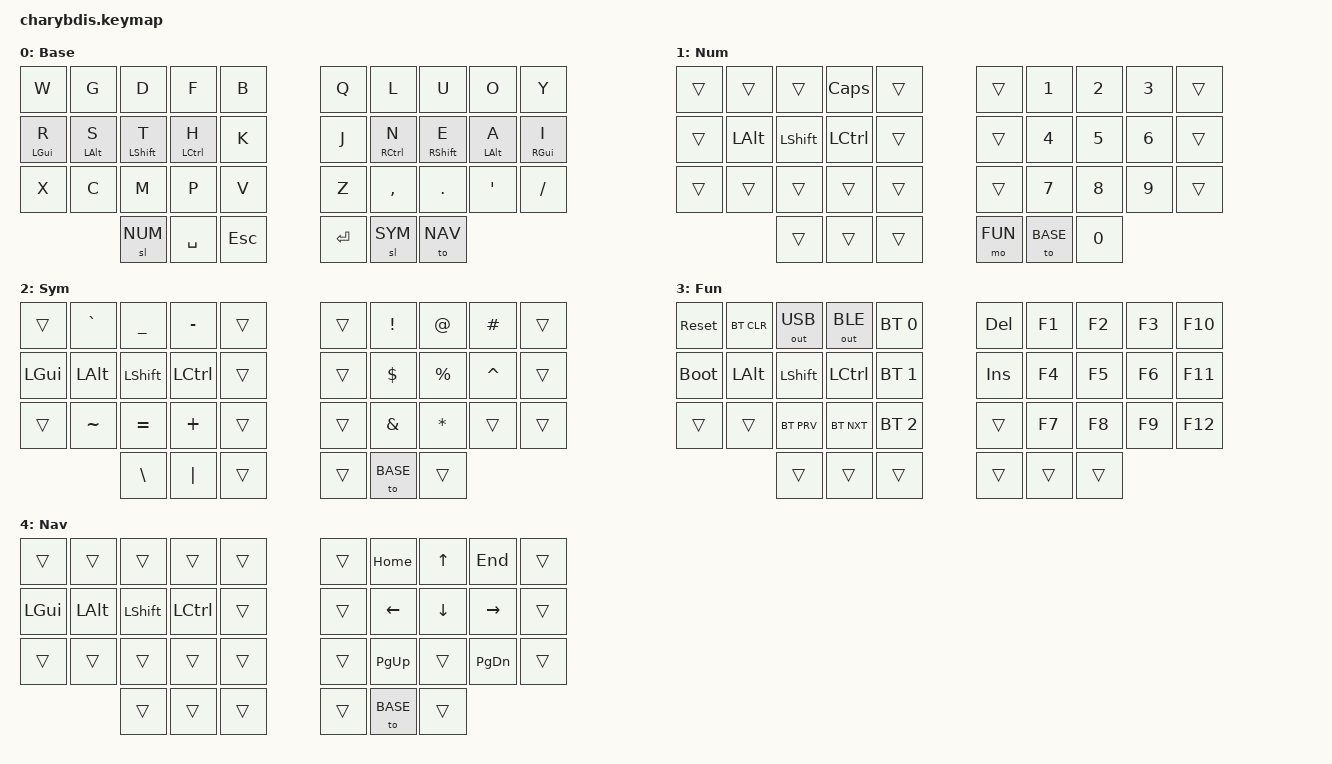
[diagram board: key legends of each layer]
#include <behaviors.dtsi>
#include <dt-bindings/zmk/bt.h>
#include <dt-bindings/zmk/keys.h>
#include <dt-bindings/zmk/outputs.h>

#define BASE 0
#define NUM  1
#define SYM  2
#define FUN  3
#define NAV  4

/ {
    behaviors {
        hm: homerow_mods {
            compatible = "zmk,behavior-hold-tap";
            #binding-cells = <2>;
            tapping-term-ms = <170>;
            quick-tap-ms = <90>;
            flavor = "tap-preferred";
            bindings = <&kp>, <&kp>;
        };

        hs: homerow_mods_slow {
            compatible = "zmk,behavior-hold-tap";
            #binding-cells = <2>;
            tapping-term-ms = <300>;
            quick-tap-ms = <170>;
            flavor = "tap-preferred";
            bindings = <&kp>, <&kp>;
        };
    };

    combos {
        compatible = "zmk,combos";

        combo_bspc {
            timeout-ms = <30>;
            key-positions = <26 27>;
            bindings = <&kp BSPC>;
        };

        combo_tab {
            timeout-ms = <30>;
            key-positions = <1 2>;
            layers = <BASE>;
            bindings = <&kp TAB>;
        };

        combo_lbkt {
            timeout-ms = <30>;
            key-positions = <6 7>;
            layers = <BASE>;
            bindings = <&kp LBKT>;
        };

        combo_rbkt {
            timeout-ms = <30>;
            key-positions = <6 7>;
            layers = <SYM>;
            bindings = <&kp RBKT>;
        };

        combo_lpar {
            timeout-ms = <30>;
            key-positions = <2 3>;
            layers = <BASE>;
            bindings = <&kp LPAR>;
        };

        combo_rpar {
            timeout-ms = <30>;
            key-positions = <2 3>;
            layers = <SYM>;
            bindings = <&kp RPAR>;
        };

        combo_lbrc {
            timeout-ms = <30>;
            key-positions = <22 23>;
            layers = <BASE>;
            bindings = <&kp LBRC>;
        };

        combo_rbrc {
            timeout-ms = <30>;
            key-positions = <22 23>;
            layers = <SYM>;
            bindings = <&kp RBRC>;
        };

        combo_colon {
            timeout-ms = <30>;
            key-positions = <15 16>;
            layers = <BASE>;
            bindings = <&kp COLON>;
        };

        combo_semi {
            timeout-ms = <30>;
            key-positions = <13 14>;
            layers = <BASE>;
            bindings = <&kp SEMI>;
        };
    };

    macros {
        s_all: s_all {
            compatible = "zmk,behavior-macro";
            #binding-cells = <0>;
            bindings
                = <&macro_tap &kp HOME>
                , <&macro_press &kp LSHFT>
                , <&macro_tap &kp END>
                , <&macro_release &kp LSHFT>
                ;
        };
    };

    keymap {
        compatible = "zmk,keymap";

        default_layer {
            display-name = "Base";
            bindings = <
&kp W       &kp G       &kp D        &kp F        &kp B             &kp Q    &kp L        &kp U        &kp O       &kp Y
&hs LGUI R  &hm LALT S  &hm LSHFT T  &hm LCTRL H  &kp K             &kp J    &hm RCTRL N  &hm RSHFT E  &hm LALT A  &hs RGUI I
&kp X       &kp C       &kp M        &kp P        &kp V             &kp Z    &kp COMMA    &kp DOT      &kp SQT     &kp FSLH
                        &sl NUM      &kp SPACE    &kp ESC           &kp RET  &sl SYM      &to NAV
            >;
        };

        num_layer {
            display-name = "Num";
            bindings = <
&trans  &trans    &trans     &kp CAPS   &trans    &trans   &kp N1    &kp N2  &kp N3  &trans
&trans  &kp LALT  &kp LSHFT  &kp LCTRL  &trans    &trans   &kp N4    &kp N5  &kp N6  &trans
&trans  &trans    &trans     &trans     &trans    &trans   &kp N7    &kp N8  &kp N9  &trans
                  &trans     &trans     &trans    &mo FUN  &to BASE  &kp N0
            >;
        };

        sym_layer {
            display-name = "Sym";
            bindings = <
&trans    &kp GRAVE  &kp UNDER  &kp MINUS  &trans    &trans  &kp EXCL  &kp AT     &kp HASH   &trans
&kp LGUI  &kp LALT   &kp LSHFT  &kp LCTRL  &trans    &trans  &kp DLLR  &kp PRCNT  &kp CARET  &trans
&trans    &kp TILDE  &kp EQUAL  &kp PLUS   &trans    &trans  &kp AMPS  &kp STAR   &trans     &trans
                     &kp BSLH   &kp PIPE   &trans    &trans  &to BASE  &trans
            >;
        };

        function_layer {
            display-name = "Fun";
            bindings = <
&sys_reset   &bt BT_CLR  &out OUT_USB  &out OUT_BLE  &bt BT_SEL 0    &kp DEL  &kp F1  &kp F2  &kp F3  &kp F10
&bootloader  &kp LALT    &kp LSHFT     &kp LCTRL     &bt BT_SEL 1    &kp INS  &kp F4  &kp F5  &kp F6  &kp F11
&trans       &trans      &bt BT_PRV    &bt BT_NXT    &bt BT_SEL 2    &trans   &kp F7  &kp F8  &kp F9  &kp F12
                         &trans        &trans        &trans          &trans   &trans  &trans
            >;
        };

        nav_layer {
            display-name = "Nav";
            bindings = <
&trans    &trans    &trans     &trans     &trans    &trans  &kp HOME   &kp UP    &kp END    &trans
&kp LGUI  &kp LALT  &kp LSHFT  &kp LCTRL  &trans    &trans  &kp LEFT   &kp DOWN  &kp RIGHT  &trans
&trans    &trans    &trans     &trans     &trans    &trans  &kp PG_UP  &trans    &kp PG_DN  &trans
                    &trans     &trans     &trans    &trans  &to BASE   &trans
            >;
        };
    };
};
